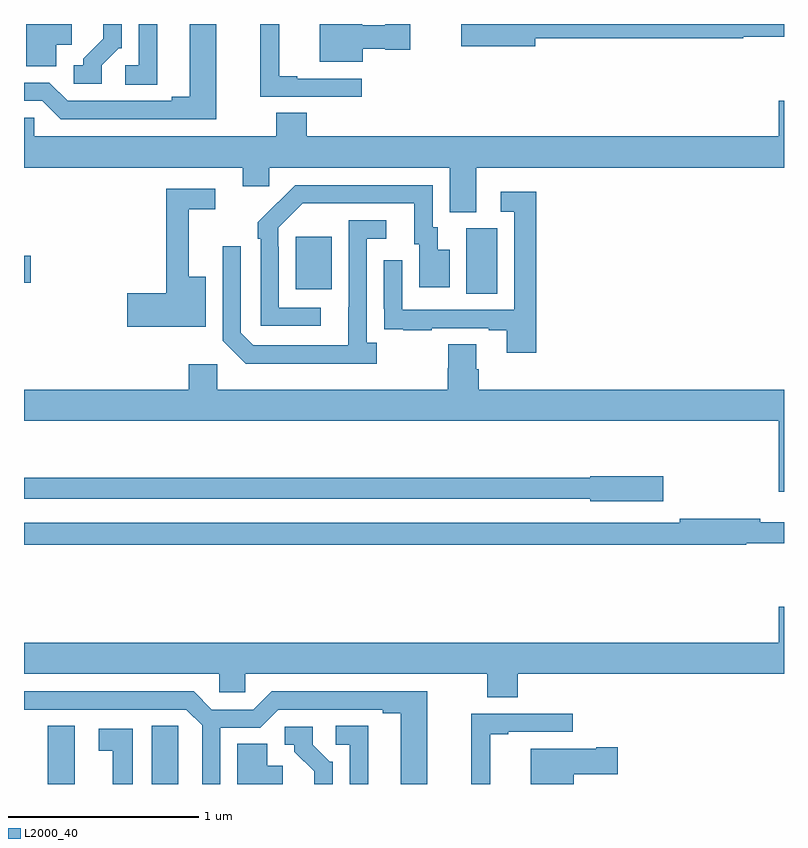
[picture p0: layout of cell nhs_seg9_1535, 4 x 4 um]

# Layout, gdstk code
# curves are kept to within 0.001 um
import gdstk
lib = gdstk.Library(unit=1e-6, precision=1e-09)
def R(c, l, rs):  # rectangles x0, y0, x1, y1
    for r in rs: c.add(gdstk.rectangle(r[:2], r[2:], *l))
def P(c, l, *ps):  # polygons
    for p in ps: c.add(gdstk.Polygon(p, *l))
L2000_40 = (2000, 40)

nhs_seg9_1535 = lib.new_cell('nhs_seg9_1535')
R(nhs_seg9_1535, L2000_40, [(197.126,1202.5,197.266,1202.806), (199.328,1205.08,199.492,1205.424), (198.431,1205.105,198.619,1205.38), (197,1205.138,197.035,1205.28)])
P(nhs_seg9_1535, L2000_40, [(198.013,1206.5),(197.873,1206.5),(197.873,1206.116),(197.777,1206.116),(197.777,1206.096),(197.229,1206.096),(197.133,1206.192),(197,1206.192),(197,1206.096),(197.097,1206.096),(197.193,1206),(198.013,1206)],
  [(198.784,1206.371),(198.9,1206.371),(198.9,1206.364),(199.033,1206.364),(199.033,1206.5),(198.9,1206.5),(198.9,1206.493),(198.78,1206.493),(198.78,1206.5),(198.557,1206.5),(198.557,1206.302),(198.784,1206.302)],
  [(199.69,1206.424),(200.786,1206.424),(200.786,1206.432),(201,1206.432),(201,1206.5),(199.302,1206.5),(199.302,1206.382),(199.69,1206.382)],
  [(197.17,1206.392),(197.251,1206.392),(197.251,1206.5),(197.012,1206.5),(197.012,1206.277),(197.17,1206.277)],
  [(197.701,1206.5),(197.604,1206.5),(197.604,1206.282),(197.532,1206.282),(197.532,1206.181),(197.701,1206.181)],
  [(198.778,1206.213),(198.439,1206.213),(198.439,1206.226),(198.344,1206.226),(198.344,1206.5),(198.244,1206.5),(198.244,1206.117),(198.778,1206.117)],
  [(197.409,1206.282),(197.499,1206.372),(197.514,1206.372),(197.514,1206.5),(197.417,1206.5),(197.417,1206.422),(197.312,1206.317),(197.312,1206.282),(197.262,1206.282),(197.262,1206.186),(197.409,1206.186)],
  [(199.381,1205.744),(201,1205.744),(201,1206.097),(200.972,1206.097),(200.972,1205.908),(198.488,1205.908),(198.488,1206.032),(198.328,1206.032),(198.328,1205.908),(197.055,1205.908),(197.055,1206.006),(197,1206.006),(197,1205.744),(198.152,1205.744),(198.152,1205.646),(198.291,1205.646),(198.291,1205.744),(199.241,1205.744),(199.241,1205.509),(199.381,1205.509)],
  [(198.562,1205.007),(198.342,1205.007),(198.342,1205.327),(198.339,1205.327),(198.339,1205.427),(198.468,1205.556),(199.055,1205.556),(199.055,1205.34),(199.079,1205.34),(199.079,1205.115),(199.24,1205.115),(199.24,1205.311),(199.177,1205.311),(199.177,1205.43),(199.152,1205.43),(199.152,1205.652),(198.428,1205.652),(198.231,1205.457),(198.231,1205.369),(198.246,1205.369),(198.246,1204.911),(198.562,1204.911)],
  [(197.956,1205.17),(197.867,1205.17),(197.867,1205.526),(198.007,1205.526),(198.007,1205.634),(197.749,1205.634),(197.749,1205.084),(197.544,1205.084),(197.544,1204.906),(197.956,1204.906)],
  [(199.697,1205.617),(199.509,1205.617),(199.509,1205.511),(199.581,1205.511),(199.581,1204.995),(198.99,1204.995),(198.99,1205.257),(198.894,1205.257),(198.894,1205.002),(198.895,1205.002),(198.895,1204.893),(198.997,1204.893),(198.997,1204.887),(199.145,1204.887),(199.145,1204.899),(199.445,1204.899),(199.445,1204.887),(199.541,1204.887),(199.541,1204.77),(199.697,1204.77)],
  [(198.856,1204.822),(198.804,1204.822),(198.804,1205.37),(198.907,1205.37),(198.907,1205.466),(198.708,1205.466),(198.707,1204.809),(198.207,1204.809),(198.141,1204.875),(198.141,1205.329),(198.045,1205.329),(198.045,1204.833),(198.166,1204.712),(198.856,1204.712)],
  [(201,1204.576),(199.394,1204.576),(199.394,1204.682),(199.381,1204.682),(199.381,1204.814),(199.234,1204.814),(199.234,1204.689),(199.229,1204.689),(199.229,1204.576),(198.018,1204.576),(198.018,1204.708),(197.867,1204.708),(197.867,1204.576),(197,1204.576),(197,1204.412),(200.972,1204.412),(200.972,1204.038),(201,1204.038)],
  [(200.365,1204.119),(199.98,1204.119),(199.98,1204.111),(197,1204.111),(197,1204.002),(199.98,1204.002),(199.98,1203.989),(200.365,1203.989)],
  [(200.8,1203.768),(201,1203.768),(201,1203.877),(200.876,1203.877),(200.876,1203.896),(200.452,1203.896),(200.452,1203.876),(197,1203.876),(197,1203.76),(200.8,1203.76)],
  [(199.598,1203.08),(201,1203.08),(201,1203.433),(200.972,1203.433),(200.972,1203.244),(197,1203.244),(197,1203.08),(198.027,1203.08),(198.027,1202.982),(198.165,1202.982),(198.165,1203.08),(199.438,1203.08),(199.438,1202.956),(199.598,1202.956)],
  [(198.033,1202.796),(198.243,1202.796),(198.339,1202.892),(198.887,1202.892),(198.887,1202.872),(198.983,1202.872),(198.983,1202.5),(199.123,1202.5),(199.123,1202.988),(198.303,1202.988),(198.207,1202.892),(197.989,1202.892),(197.893,1202.988),(197,1202.988),(197,1202.892),(197.853,1202.892),(197.937,1202.808),(197.937,1202.5),(198.033,1202.5)],
  [(199.454,1202.763),(199.549,1202.763),(199.549,1202.775),(199.888,1202.775),(199.888,1202.871),(199.354,1202.871),(199.354,1202.5),(199.454,1202.5)],
  [(197.812,1202.699),(197.811,1202.699),(197.811,1202.807),(197.672,1202.807),(197.672,1202.5),(197.812,1202.5)],
  [(198.811,1202.807),(198.642,1202.807),(198.642,1202.706),(198.714,1202.706),(198.714,1202.5),(198.811,1202.5)],
  [(198.624,1202.616),(198.609,1202.616),(198.519,1202.706),(198.519,1202.802),(198.372,1202.802),(198.372,1202.706),(198.422,1202.706),(198.422,1202.671),(198.527,1202.566),(198.527,1202.5),(198.624,1202.5)],
  [(197.572,1202.79),(197.394,1202.79),(197.394,1202.674),(197.468,1202.674),(197.468,1202.5),(197.572,1202.5)],
  [(198.361,1202.596),(198.28,1202.596),(198.28,1202.711),(198.122,1202.711),(198.122,1202.5),(198.361,1202.5)],
  [(199.894,1202.552),(200.125,1202.552),(200.125,1202.694),(200.012,1202.694),(200.012,1202.686),(199.667,1202.686),(199.667,1202.5),(199.894,1202.5)])

lib.write_gds('nhs_seg9_1535.gds')
